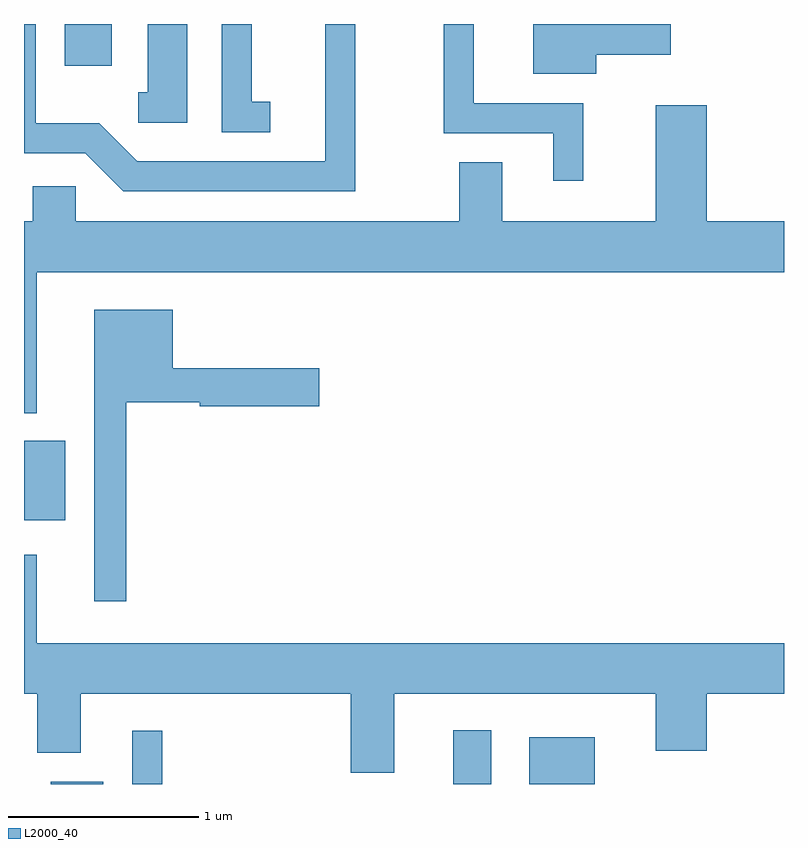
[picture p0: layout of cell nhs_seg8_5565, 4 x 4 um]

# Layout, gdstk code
import gdstk
lib = gdstk.Library(unit=1e-6, precision=1e-09)
def R(c, l, rs):  # rectangles x0, y0, x1, y1
    for r in rs: c.add(gdstk.rectangle(r[:2], r[2:], *l))
def P(c, l, *ps):  # polygons
    for p in ps: c.add(gdstk.Polygon(p, *l))
L2000_40 = (2000, 40)

nhs_seg8_5565 = lib.new_cell('nhs_seg8_5565')
R(nhs_seg8_5565, L2000_40, [(351.751,1880.342,352.029,1880.354), (352.181,1880.342,352.339,1880.623), (353.871,1880.342,354.069,1880.624), (354.271,1880.342,354.614,1880.589), (351.611,1881.731,351.829,1882.149), (351.826,1884.121,352.074,1884.342)])
P(nhs_seg8_5565, L2000_40, [(354.624,1884.181),(355.014,1884.181),(355.014,1884.342),(354.291,1884.342),(354.291,1884.081),(354.624,1884.081)],
  [(353.354,1884.342),(353.196,1884.342),(353.196,1883.619),(352.207,1883.619),(352.007,1883.819),(351.674,1883.819),(351.674,1884.342),(351.611,1884.342),(351.611,1883.661),(351.934,1883.661),(352.134,1883.461),(353.354,1883.461)],
  [(352.469,1884.342),(352.261,1884.342),(352.261,1883.984),(352.213,1883.984),(352.213,1883.821),(352.469,1883.821)],
  [(352.908,1883.934),(352.809,1883.934),(352.809,1884.342),(352.651,1884.342),(352.651,1883.771),(352.908,1883.771)],
  [(354.554,1883.924),(353.979,1883.924),(353.979,1884.342),(353.821,1884.342),(353.821,1883.766),(354.396,1883.766),(354.396,1883.518),(354.554,1883.518)],
  [(351.679,1883.036),(355.611,1883.036),(355.611,1883.304),(355.204,1883.304),(355.204,1883.914),(354.936,1883.914),(354.936,1883.304),(354.129,1883.304),(354.129,1883.614),(353.901,1883.614),(353.901,1883.304),(351.884,1883.304),(351.884,1883.489),(351.656,1883.489),(351.656,1883.304),(351.611,1883.304),(351.611,1882.293),(351.679,1882.293)],
  [(352.149,1882.351),(352.536,1882.351),(352.536,1882.331),(353.164,1882.331),(353.164,1882.529),(352.394,1882.529),(352.394,1882.839),(351.981,1882.839),(351.981,1881.303),(352.149,1881.303)],
  [(353.559,1880.816),(354.936,1880.816),(354.936,1880.516),(355.204,1880.516),(355.204,1880.816),(355.611,1880.816),(355.611,1881.084),(351.679,1881.084),(351.679,1881.548),(351.611,1881.548),(351.611,1880.816),(351.681,1880.816),(351.681,1880.506),(351.909,1880.506),(351.909,1880.816),(353.331,1880.816),(353.331,1880.401),(353.559,1880.401)])

lib.write_gds('nhs_seg8_5565.gds')
